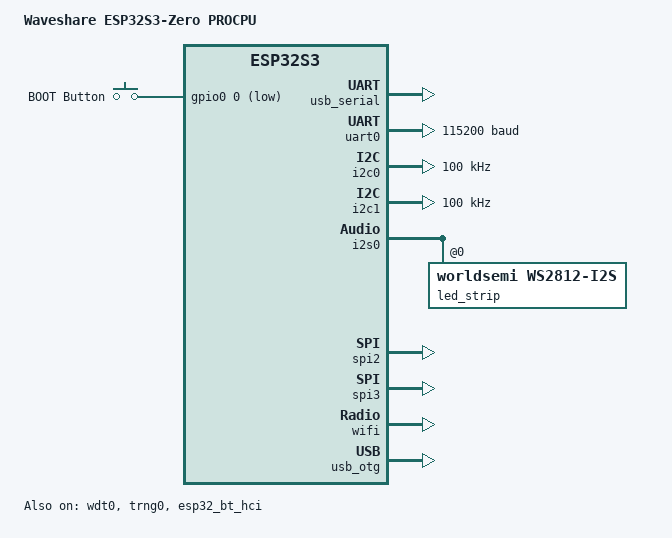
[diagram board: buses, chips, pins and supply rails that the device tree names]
/*
 * Copyright (c) 2024-2025 Espressif Systems (Shanghai) Co., Ltd.
 *
 * SPDX-License-Identifier: Apache-2.0
 */
/dts-v1/;

#include <espressif/esp32s3/esp32s3_wroom_n8.dtsi>
#include <zephyr/dt-bindings/input/input-event-codes.h>
#include <zephyr/dt-bindings/input/esp32-touch-sensor-input.h>
#include <zephyr/dt-bindings/led/led.h>
#include "esp32s3_zero-pinctrl.dtsi"

/* 2MB PSRAM */
&psram0 {
	size = <DT_SIZE_M(2)>;
};

/* 4MB FLASH */
&flash0 {
	reg = <0x0 DT_SIZE_M(4)>;
};

#include <espressif/partitions_0x0_amp_4M.dtsi>

/ {
	model = "Waveshare ESP32S3-Zero PROCPU";
	compatible = "espressif,esp32s3";

	aliases {
		i2c-0 = &i2c0;
		watchdog0 = &wdt0;
		uart-0 = &uart0;
		sw0 = &button0;
		led-strip = &led_strip;
	};

	chosen {
		zephyr,sram = &sram1;
		zephyr,console = &usb_serial;
		zephyr,shell-uart = &usb_serial;
		zephyr,flash = &flash0;
		zephyr,code-partition = &slot0_partition;
		zephyr,bt-hci = &esp32_bt_hci;
	};

	buttons {
		compatible = "gpio-keys";

		button0: button_0 {
			gpios = <&gpio0 0 (GPIO_PULL_UP | GPIO_ACTIVE_LOW)>;
			label = "BOOT Button";
			zephyr,code = <INPUT_KEY_0>;
		};
	};
};

&usb_serial {
	status = "okay";
};

&uart0 {
	status = "okay";
	current-speed = <115200>;
	pinctrl-0 = <&uart0_default>;
	pinctrl-names = "default";
};

&gpio0 {
	status = "okay";
};

&gpio1 {
	status = "okay";
};

&touch {
	debounce-interval-ms = <30>;
	href-microvolt = <2700000>;
	lref-microvolt = <500000>;
	href-atten-microvolt = <1000000>;
	filter-mode = <ESP32_TOUCH_FILTER_MODE_IIR_16>;
	filter-debounce-cnt = <1>;
	filter-noise-thr = <ESP32_TOUCH_FILTER_NOISE_THR_4_8TH>;
	filter-jitter-step = <4>;
	filter-smooth-level = <ESP32_TOUCH_FILTER_SMOOTH_MODE_IIR_2>;
};

&i2c0 {
	clock-frequency = <I2C_BITRATE_STANDARD>;
	pinctrl-0 = <&i2c0_default>;
	pinctrl-names = "default";
};

&i2c1 {
	clock-frequency = <I2C_BITRATE_STANDARD>;
	pinctrl-0 = <&i2c1_default>;
	pinctrl-names = "default";
};

&i2s0 {
	pinctrl-0 = <&i2s0_default>;
	pinctrl-names = "default";
};

&i2s1 {
	pinctrl-0 = <&i2s1_default>;
	pinctrl-names = "default";
};

&spi2 {
	#address-cells = <1>;
	#size-cells = <0>;
	status = "okay";
	pinctrl-0 = <&spim2_default>;
	pinctrl-names = "default";
};

&spi3 {
	#address-cells = <1>;
	#size-cells = <0>;
	status = "okay";
	pinctrl-0 = <&spim3_default>;
	pinctrl-names = "default";
};

&twai {
	pinctrl-0 = <&twai_default>;
	pinctrl-names = "default";
};

&timer0 {
	status = "disabled";
};

&timer1 {
	status = "disabled";
};

&timer2 {
	status = "disabled";
};

&timer3 {
	status = "disabled";
};

&wdt0 {
	status = "okay";
};

&trng0 {
	status = "okay";
};

&esp32_bt_hci {
	status = "okay";
};

&wifi {
	status = "okay";
};

zephyr_udc0: &usb_otg {
	status = "okay";
};

&i2s0_default {
	group1 {
		pinmux = <I2S0_O_SD_GPIO21>;
	};
};

i2s_led: &i2s0 {
	status = "okay";

	dmas = <&dma 3>;
	dma-names = "tx";

	led_strip: ws2812@0 {
		compatible = "worldsemi,ws2812-i2s";

		reg = <0>;
		chain-length = <1>;
		color-mapping = <LED_COLOR_ID_GREEN
				 LED_COLOR_ID_RED
				 LED_COLOR_ID_BLUE>;
		reset-delay = <500>;
	};
};

&dma {
	status = "okay";
};
